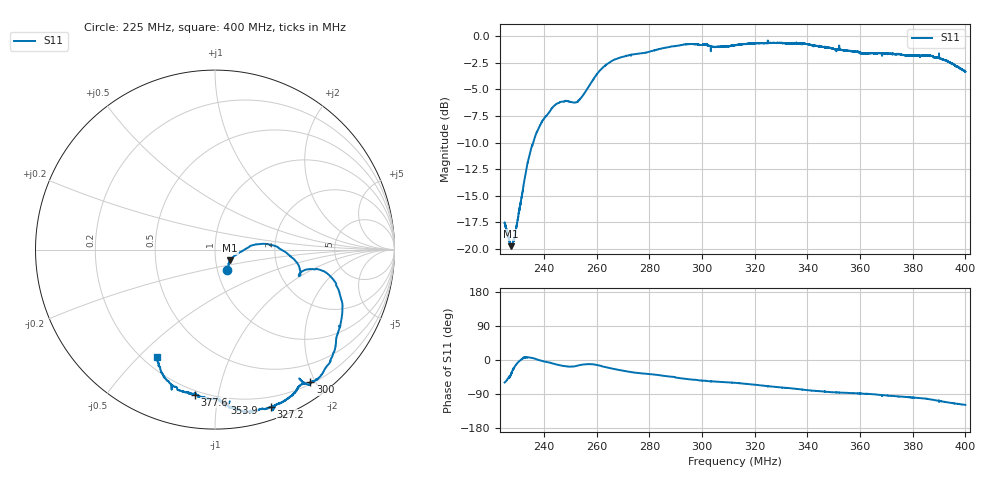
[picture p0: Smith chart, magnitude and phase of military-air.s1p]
! Calibrated averaged scanner-service zoom
# Hz S RI R 50
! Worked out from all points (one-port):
!   10001 points, 225 MHz to 400 MHz, reference 50 ohm
!   lowest |S11| = -19.8 dB at 227.5 MHz (marker M1), VSWR 1.23, Z = 58.6 - j7.13 ohm
!   |S11| at or under -10 dB: start of sweep to 235.9 MHz
!   S11 on the Smith chart (normalised r, x): 225 MHz: 1.11, -0.26; 300 MHz: 0.22, -1.93; 327.2 MHz: 0.11, -1.41; 353.9 MHz: 0.16, -1.05; 377.6 MHz: 0.18, -0.86; 400 MHz: 0.25, -0.57
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2.25e8  0.0676 -0.1141
2.27485e8  0.0834 -0.0601
2.29025e8  0.113 -0.0318
2.328925e8  0.2219 0.0281
2.3459e8  0.2799 0.0323
2.367075e8  0.3406 0.0185
2.430075e8  0.4539 -0.0692
2.46875e8  0.4758 -0.1287
2.49675e8  0.4697 -0.1478
2.52405e8  0.4723 -0.131
2.58005e8  0.5979 -0.118
2.628525e8  0.688 -0.2233
2.6875e8  0.7083 -0.3565
2.739475e8  0.6909 -0.4456
2.83625e8  0.6665 -0.559
2.90625e8  0.6157 -0.6591
3.000225e8  0.5311 -0.7396
3.125e8  0.452 -0.7893
3.27165e8  0.3133 -0.8768
3.34375e8  0.2375 -0.8941
3.424425e8  0.1379 -0.8929
3.5387e8  0.0534 -0.8542
3.5625e8  0.0425 -0.8532
3.776e8  -0.1103 -0.8075
3.78125e8  -0.1117 -0.804
3.86875e8  -0.1963 -0.7841
3.931925e8  -0.2852 -0.7092
4e8  -0.325 -0.6002
